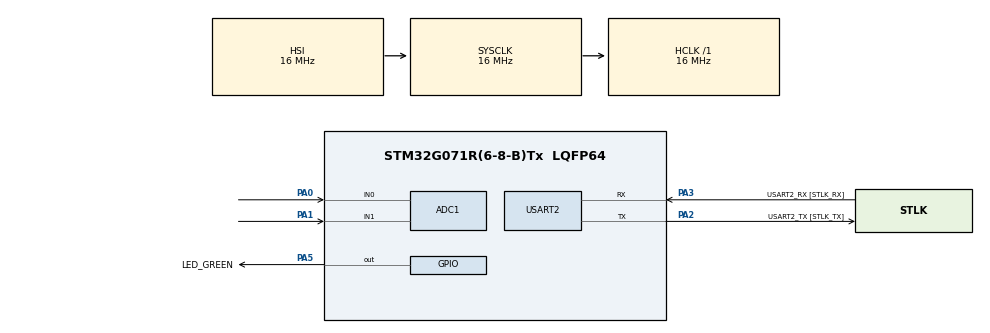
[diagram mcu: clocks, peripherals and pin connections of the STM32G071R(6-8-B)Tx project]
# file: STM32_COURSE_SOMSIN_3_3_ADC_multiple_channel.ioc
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ADC1.Channel-0\#ChannelRegularConversion=ADC_CHANNEL_0
ADC1.Channel-1\#ChannelRegularConversion=ADC_CHANNEL_1
ADC1.DiscontinuousConvMode=ENABLE
ADC1.NbrOfConversion=2
ADC1.NbrOfConversionFlag=1
ADC1.Rank-0\#ChannelRegularConversion=1
ADC1.Rank-1\#ChannelRegularConversion=2
ADC1.SamplingTime-0\#ChannelRegularConversion=ADC_SAMPLINGTIME_COMMON_1
ADC1.SamplingTime-1\#ChannelRegularConversion=ADC_SAMPLINGTIME_COMMON_1
ADC1.SelectedChannel=ADC_CHANNEL_0|ADC_CHANNEL_1
ADC1.master=1
Mcu.Family=STM32G0
Mcu.Name=STM32G071R(6-8-B)Tx
Mcu.Package=LQFP64
PA0.Mode=IN0
PA0.Signal=ADC1_IN0
PA1.Mode=IN1
PA1.Signal=ADC1_IN1
PA13.GPIO_Label=TMS
PA13.Mode=Serial_Wire
PA13.Signal=SYS_SWDIO
PA14-BOOT0.GPIO_Label=TCK
PA14-BOOT0.Mode=Serial_Wire
PA14-BOOT0.Signal=SYS_SWCLK
PA2.GPIO_Label=USART2_TX [STLK_TX]
PA2.GPIO_PuPd=GPIO_PULLUP
PA2.Mode=Asynchronous
PA2.Signal=USART2_TX
PA3.GPIO_Label=USART2_RX [STLK_RX]
PA3.GPIO_PuPd=GPIO_PULLUP
PA3.Mode=Asynchronous
PA3.Signal=USART2_RX
PA5.GPIO_Label=LED_GREEN
PA5.GPIO_Speed=GPIO_SPEED_FREQ_HIGH
PA5.Signal=GPIO_Output
PC13.Mode=SYS_WakeUp1
PC13.Signal=SYS_WKUP2
PC14-OSC32_IN\ (PC14).Mode=LSE-External-Oscillator
PC14-OSC32_IN\ (PC14).Signal=RCC_OSC32_IN
PC15-OSC32_OUT\ (PC15).Mode=LSE-External-Oscillator
PC15-OSC32_OUT\ (PC15).Signal=RCC_OSC32_OUT
PF0-OSC_IN\ (PF0).GPIO_Label=MCO
PF0-OSC_IN\ (PF0).Mode=HSE-External-Clock-Source
PF0-OSC_IN\ (PF0).Signal=RCC_OSC_IN
ProjectManager.HeapSize=0x200
ProjectManager.StackSize=0x400
ProjectManager.TargetToolchain=STM32CubeIDE
RCC.AHBFreq_Value=16000000
RCC.CortexFreq_Value=16000000
RCC.EXTERNAL_CLOCK_VALUE=12288000
RCC.HCLKFreq_Value=16000000
RCC.HSE_VALUE=8000000
RCC.HSI_VALUE=16000000
RCC.SYSCLKFreq_VALUE=16000000
RCC.VCOOutputFreq_Value=128000000
USART2.VirtualMode-Asynchronous=VM_ASYNC
VP_SYS_VS_DBSignals.Mode=DisableDeadBatterySignals
board=NUCLEO-G071RB

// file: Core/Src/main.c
/* USER CODE BEGIN Header */
/**
  ******************************************************************************
  * @file           : main.c
  * @brief          : Main program body
  ******************************************************************************
  * @attention
  *
  * Copyright (c) 2024 STMicroelectronics.
  * All rights reserved.
  *
  * This software is licensed under terms that can be found in the LICENSE file
  * in the root directory of this software component.
  * If no LICENSE file comes with this software, it is provided AS-IS.
  *
  ******************************************************************************
  */
/* USER CODE END Header */
#include "main.h"

ADC_HandleTypeDef hadc1;

UART_HandleTypeDef huart2;

void SystemClock_Config(void);
static void MX_GPIO_Init(void);
static void MX_USART2_UART_Init(void);
static void MX_ADC1_Init(void);

int main(void)
{

  /* MCU Configuration--------------------------------------------------------*/

  /* Reset of all peripherals, Initializes the Flash interface and the Systick. */
  HAL_Init();

  /* Configure the system clock */
  SystemClock_Config();

  /* Initialize all configured peripherals */
  MX_GPIO_Init();
  MX_USART2_UART_Init();
  MX_ADC1_Init();
  /* USER CODE BEGIN 2 */
  HAL_ADCEx_Calibration_Start(&hadc1); // Calibrate ADC
  HAL_UART_Transmit(&huart2, (uint8_t *)"haruhi3\r\n", 9, 1000);
  /* USER CODE END 2 */

  /* Infinite loop */
  /* USER CODE BEGIN WHILE */
  while (1)
  {
	uint16_t adc_value[0] = {0,0};
	char adc_value_string[30];
	int adc_value_string_size = 0;
	HAL_ADC_Start(&hadc1); // start conversion (CH0)
	HAL_ADC_PollForConversion(&hadc1, 1000); // wait for conversion
	adc_value[0] = HAL_ADC_GetValue(&hadc1); // get ADC CH0 value
	HAL_ADC_Start(&hadc1); // start conversion (CH1)
	HAL_ADC_PollForConversion(&hadc1, 1000); // wait for conversion
	adc_value[1] = HAL_ADC_GetValue(&hadc1); // get ADC CH1 value
	HAL_ADC_Stop(&hadc1); // Reset Conversion

	adc_value_string_size = sprintf(adc_value_string,"%d,%d\r\n",adc_value[0],adc_value[1]);
	HAL_UART_Transmit(&huart2, adc_value_string, adc_value_string_size, 1000);

	HAL_Delay (1000);
    /* USER CODE END WHILE */

  }
}

void SystemClock_Config(void)
{
  RCC_OscInitTypeDef RCC_OscInitStruct = {0};
  RCC_ClkInitTypeDef RCC_ClkInitStruct = {0};

  /** Configure the main internal regulator output voltage
  */
  HAL_PWREx_ControlVoltageScaling(PWR_REGULATOR_VOLTAGE_SCALE1);

  /** Initializes the RCC Oscillators according to the specified parameters
  * in the RCC_OscInitTypeDef structure.
  */
  RCC_OscInitStruct.OscillatorType = RCC_OSCILLATORTYPE_HSI;
  RCC_OscInitStruct.HSIState = RCC_HSI_ON;
  RCC_OscInitStruct.HSIDiv = RCC_HSI_DIV1;
  RCC_OscInitStruct.HSICalibrationValue = RCC_HSICALIBRATION_DEFAULT;
  RCC_OscInitStruct.PLL.PLLState = RCC_PLL_NONE;
  if (HAL_RCC_OscConfig(&RCC_OscInitStruct) != HAL_OK)
  {
    Error_Handler();
  }

  /** Initializes the CPU, AHB and APB buses clocks
  */
  RCC_ClkInitStruct.ClockType = RCC_CLOCKTYPE_HCLK|RCC_CLOCKTYPE_SYSCLK
                              |RCC_CLOCKTYPE_PCLK1;
  RCC_ClkInitStruct.SYSCLKSource = RCC_SYSCLKSOURCE_HSI;
  RCC_ClkInitStruct.AHBCLKDivider = RCC_SYSCLK_DIV1;
  RCC_ClkInitStruct.APB1CLKDivider = RCC_HCLK_DIV1;

  if (HAL_RCC_ClockConfig(&RCC_ClkInitStruct, FLASH_LATENCY_0) != HAL_OK)
  {
    Error_Handler();
  }
}

static void MX_ADC1_Init(void)
{

  ADC_ChannelConfTypeDef sConfig = {0};

  /** Configure the global features of the ADC (Clock, Resolution, Data Alignment and number of conversion)
  */
  hadc1.Instance = ADC1;
  hadc1.Init.ClockPrescaler = ADC_CLOCK_SYNC_PCLK_DIV2;
  hadc1.Init.Resolution = ADC_RESOLUTION_12B;
  hadc1.Init.DataAlign = ADC_DATAALIGN_RIGHT;
  hadc1.Init.ScanConvMode = ADC_SCAN_ENABLE;
  hadc1.Init.EOCSelection = ADC_EOC_SINGLE_CONV;
  hadc1.Init.LowPowerAutoWait = DISABLE;
  hadc1.Init.LowPowerAutoPowerOff = DISABLE;
  hadc1.Init.ContinuousConvMode = DISABLE;
  hadc1.Init.NbrOfConversion = 2;
  hadc1.Init.DiscontinuousConvMode = ENABLE;
  hadc1.Init.ExternalTrigConv = ADC_SOFTWARE_START;
  hadc1.Init.ExternalTrigConvEdge = ADC_EXTERNALTRIGCONVEDGE_NONE;
  hadc1.Init.DMAContinuousRequests = DISABLE;
  hadc1.Init.Overrun = ADC_OVR_DATA_PRESERVED;
  hadc1.Init.SamplingTimeCommon1 = ADC_SAMPLETIME_1CYCLE_5;
  hadc1.Init.SamplingTimeCommon2 = ADC_SAMPLETIME_1CYCLE_5;
  hadc1.Init.OversamplingMode = DISABLE;
  hadc1.Init.TriggerFrequencyMode = ADC_TRIGGER_FREQ_HIGH;
  if (HAL_ADC_Init(&hadc1) != HAL_OK)
  {
    Error_Handler();
  }

  /** Configure Regular Channel
  */
  sConfig.Channel = ADC_CHANNEL_0;
  sConfig.Rank = ADC_REGULAR_RANK_1;
  sConfig.SamplingTime = ADC_SAMPLINGTIME_COMMON_1;
  if (HAL_ADC_ConfigChannel(&hadc1, &sConfig) != HAL_OK)
  {
    Error_Handler();
  }

  /** Configure Regular Channel
  */
  sConfig.Channel = ADC_CHANNEL_1;
  sConfig.Rank = ADC_REGULAR_RANK_2;
  if (HAL_ADC_ConfigChannel(&hadc1, &sConfig) != HAL_OK)
  {
    Error_Handler();
  }

}

static void MX_USART2_UART_Init(void)
{

  huart2.Instance = USART2;
  huart2.Init.BaudRate = 115200;
  huart2.Init.WordLength = UART_WORDLENGTH_8B;
  huart2.Init.StopBits = UART_STOPBITS_1;
  huart2.Init.Parity = UART_PARITY_NONE;
  huart2.Init.Mode = UART_MODE_TX_RX;
  huart2.Init.HwFlowCtl = UART_HWCONTROL_NONE;
  huart2.Init.OverSampling = UART_OVERSAMPLING_16;
  huart2.Init.OneBitSampling = UART_ONE_BIT_SAMPLE_DISABLE;
  huart2.Init.ClockPrescaler = UART_PRESCALER_DIV1;
  huart2.AdvancedInit.AdvFeatureInit = UART_ADVFEATURE_NO_INIT;
  if (HAL_UART_Init(&huart2) != HAL_OK)
  {
    Error_Handler();
  }
  if (HAL_UARTEx_SetTxFifoThreshold(&huart2, UART_TXFIFO_THRESHOLD_1_8) != HAL_OK)
  {
    Error_Handler();
  }
  if (HAL_UARTEx_SetRxFifoThreshold(&huart2, UART_RXFIFO_THRESHOLD_1_8) != HAL_OK)
  {
    Error_Handler();
  }
  if (HAL_UARTEx_DisableFifoMode(&huart2) != HAL_OK)
  {
    Error_Handler();
  }

}

static void MX_GPIO_Init(void)
{
  GPIO_InitTypeDef GPIO_InitStruct = {0};

  /* GPIO Ports Clock Enable */
  __HAL_RCC_GPIOC_CLK_ENABLE();
  __HAL_RCC_GPIOF_CLK_ENABLE();
  __HAL_RCC_GPIOA_CLK_ENABLE();

  /*Configure GPIO pin Output Level */
  HAL_GPIO_WritePin(LED_GREEN_GPIO_Port, LED_GREEN_Pin, GPIO_PIN_RESET);

  /*Configure GPIO pin : LED_GREEN_Pin */
  GPIO_InitStruct.Pin = LED_GREEN_Pin;
  GPIO_InitStruct.Mode = GPIO_MODE_OUTPUT_PP;
  GPIO_InitStruct.Pull = GPIO_NOPULL;
  GPIO_InitStruct.Speed = GPIO_SPEED_FREQ_HIGH;
  HAL_GPIO_Init(LED_GREEN_GPIO_Port, &GPIO_InitStruct);

}

void Error_Handler(void)
{
  __disable_irq();
  while (1)
  {
  }
}
